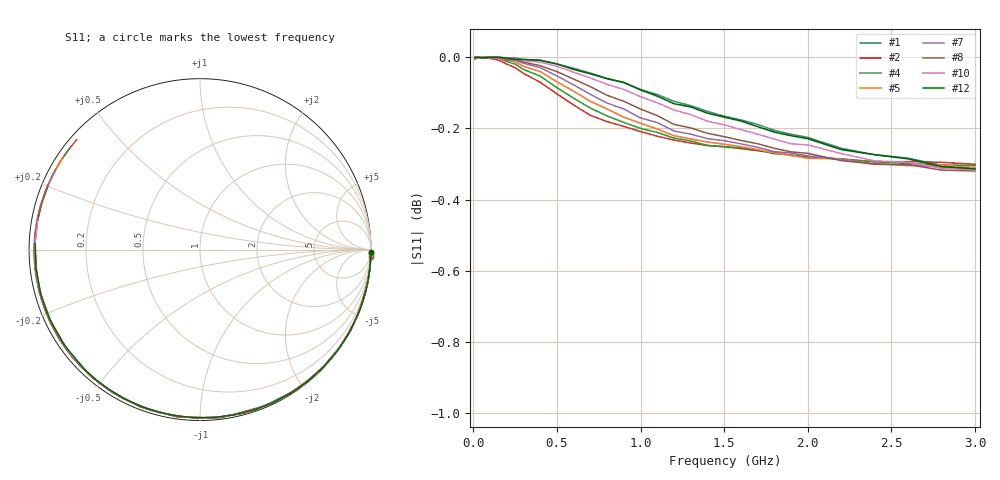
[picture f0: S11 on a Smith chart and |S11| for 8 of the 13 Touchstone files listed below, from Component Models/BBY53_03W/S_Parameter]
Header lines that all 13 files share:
! SIEMENS Discrete & RF Semiconductors
! BBY53-03W
! Si Tuning Diode in SOD323
! S-Parameters:  May  1997
# GHz  S  MA  R  50
!  f  S11
! GHz  MAG  ANG
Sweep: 10 MHz to 3 GHz
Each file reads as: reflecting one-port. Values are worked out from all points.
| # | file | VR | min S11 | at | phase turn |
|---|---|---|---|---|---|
| 1 | B8V000U0.S1P | 0 V | -0.3 dB | 3 GHz | -179 deg |
| 2 | B8V500U0.S1P | 0.5 V | -0.3 dB | 3 GHz | -219 deg |
| 3 | B8V750U0.S1P | 0.75 V | -0.3 dB | 3 GHz | -218 deg |
| 4 | B81V00U0.S1P | 1 V | -0.3 dB | 3 GHz | -216 deg |
| 5 | B81V50U0.S1P | 1.5 V | -0.3 dB | 3 GHz | -212 deg |
| 6 | B81V70U0.S1P | 1.75 V | -0.3 dB | 3 GHz | -210 deg |
| 7 | B82V00U0.S1P | 2 V | -0.3 dB | 3 GHz | -208 deg |
| 8 | B82V50U0.S1P | 2.5 V | -0.3 dB | 3 GHz | -202 deg |
| 9 | B83V00U0.S1P | 3 V | -0.3 dB | 3 GHz | -195 deg |
| 10 | B83V50U0.S1P | 3.5 V | -0.3 dB | 3 GHz | -189 deg |
| 11 | B84V00U0.S1P | 4 V | -0.3 dB | 3 GHz | -185 deg |
| 12 | B85V00U0.S1P | 5 V | -0.3 dB | 3 GHz | -181 deg |
| 13 | B86V00U0.S1P | 6 V | -0.3 dB | 3 GHz | -179 deg |
